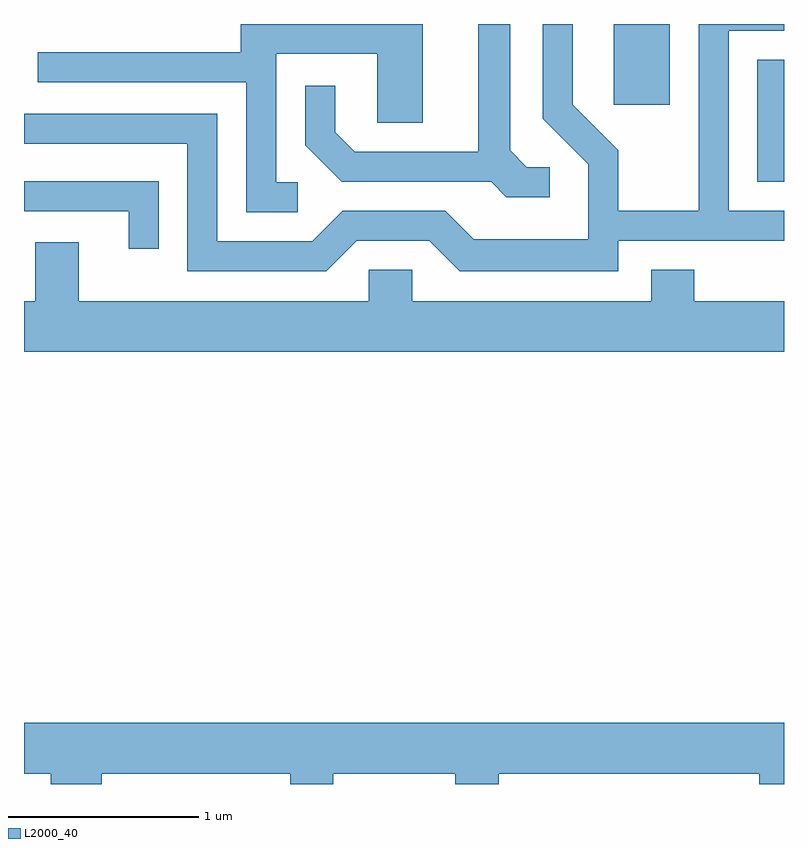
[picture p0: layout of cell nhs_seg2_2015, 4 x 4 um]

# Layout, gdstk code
import gdstk
lib = gdstk.Library(unit=1e-6, precision=1e-09)
def R(c, l, rs):  # rectangles x0, y0, x1, y1
    for r in rs: c.add(gdstk.rectangle(r[:2], r[2:], *l))
def P(c, l, *ps):  # polygons
    for p in ps: c.add(gdstk.Polygon(p, *l))
L2000_40 = (2000, 40)

nhs_seg2_2015 = lib.new_cell('nhs_seg2_2015')
R(nhs_seg2_2015, L2000_40, [(247.471,1066.971,247.611,1067.614), (246.716,1067.376,247.009,1067.802)])
P(nhs_seg2_2015, L2000_40, [(246.378,1067.049),(246.257,1067.049),(246.169,1067.137),(246.169,1067.802),(246.001,1067.802),(246.001,1067.129),(245.352,1067.129),(245.249,1067.232),(245.249,1067.478),(245.091,1067.478),(245.091,1067.164),(245.284,1066.971),(246.069,1066.971),(246.149,1066.891),(246.378,1066.891)],
  [(245.362,1066.661),(245.744,1066.661),(245.904,1066.501),(246.739,1066.501),(246.739,1066.661),(247.611,1066.661),(247.611,1066.819),(247.319,1066.819),(247.319,1067.766),(247.611,1067.766),(247.611,1067.802),(247.161,1067.802),(247.161,1066.819),(246.739,1066.819),(246.739,1067.137),(246.499,1067.377),(246.499,1067.802),(246.341,1067.802),(246.341,1067.304),(246.581,1067.064),(246.581,1066.669),(245.977,1066.669),(245.827,1066.819),(245.289,1066.819),(245.129,1066.659),(244.629,1066.659),(244.629,1067.329),(243.611,1067.329),(243.611,1067.171),(244.471,1067.171),(244.471,1066.501),(245.202,1066.501)],
  [(245.053,1066.969),(244.939,1066.969),(244.939,1067.646),(245.471,1067.646),(245.471,1067.281),(245.709,1067.281),(245.709,1067.802),(244.751,1067.802),(244.751,1067.654),(243.683,1067.654),(243.683,1067.496),(244.781,1067.496),(244.781,1066.811),(245.053,1066.811)],
  [(244.319,1066.974),(243.611,1066.974),(243.611,1066.816),(244.161,1066.816),(244.161,1066.618),(244.319,1066.618)],
  [(247.611,1066.344),(247.139,1066.344),(247.139,1066.509),(246.911,1066.509),(246.911,1066.344),(245.654,1066.344),(245.654,1066.509),(245.426,1066.509),(245.426,1066.344),(243.899,1066.344),(243.899,1066.654),(243.671,1066.654),(243.671,1066.344),(243.611,1066.344),(243.611,1066.076),(247.611,1066.076)],
  [(244.019,1063.856),(245.011,1063.856),(245.011,1063.802),(245.239,1063.802),(245.239,1063.856),(245.881,1063.856),(245.881,1063.802),(246.109,1063.802),(246.109,1063.856),(247.481,1063.856),(247.481,1063.802),(247.611,1063.802),(247.611,1064.124),(243.611,1064.124),(243.611,1063.856),(243.751,1063.856),(243.751,1063.802),(244.019,1063.802)])

lib.write_gds('nhs_seg2_2015.gds')
